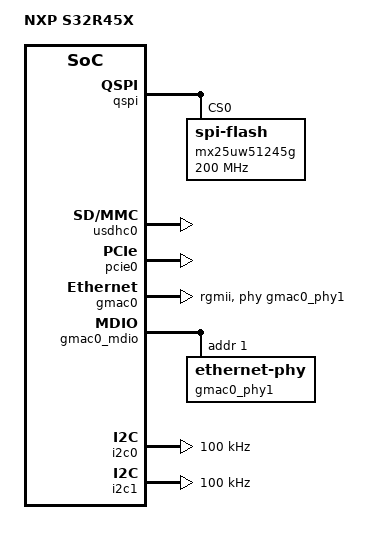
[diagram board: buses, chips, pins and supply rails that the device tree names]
// SPDX-License-Identifier: GPL-2.0+
/*
 * Copyright 2017-2020 NXP
 *
 * This program is free software; you can redistribute it and/or modify
 * it under the terms of the GNU General Public License as published by
 * the Free Software Foundation; either version 2 of the License, or
 * (at your option) any later version.
 */

/dts-v1/;
#include "fsl-s32-gen1.dtsi"
/ {
	model = "NXP S32R45X";
	compatible = "fsl,s32r45x", "arm,vexpress,v2p-aarch64", "arm,vexpress";

	signature {
		key-boot_key {
			required = "conf";
			algo = "sha1,rsa2048";
			key-name-hint = "boot_key";
		};
	};

	memory_DDR0@800000000 {
		device_type = "memory";
		reg = <0x8 0x0 0 0x40000000>, /* 0 - 1 GB */
		      <0x8 0x40000000 0 0x40000000>, /* 1 - 2 GB */
		      <0x8 0x80000000 0 0x80000000>; /* 2 - 4 GB */
		      /* extended DDR from 4 to 32 GB should go elsewhere */
	};

	memory_DDR1@8800000000 {
		device_type = "memory";
		reg = <0x88 0x0 0 0x40000000>, /* 0 - 1 GB */
		      <0x88 0x40000000 0 0xC0000000>; /* 1 - 4 GB */
		      /* extended DDR from 4 to 32 GB should go elsewhere */
	};

};

&qspi {
	status = "okay";

	mx25uw51245g@0 {
		#address-cells = <1>;
		#size-cells = <1>;
		compatible = "spi-flash";
		spi-max-frequency = <200000000>;
		spi-tx-bus-width = <8>;
		spi-rx-bus-width = <8>;
		reg = <0>;
	};
};

&usdhc0 {
	status = "okay";
};

&pcie0 {
	status = "okay";

	link-speed = <3>; /* Gen3 */
};

&gmac0 {
	status = "okay";
	phy-mode = "rgmii";
	phy-handle = <&gmac0_phy1>;
};

&gmac0_mdio {
	#address-cells = <1>;
	#size-cells = <0>;
	/* KSZ9031RNXCA on S32R-VNP-PROC */
	gmac0_phy1: ethernet-phy@1 {
		reg = <1>;
	};
};

/* J36 - PMIC */
&i2c0 {
	clock-frequency=<100000>;
	status = "okay";
};

/* J37 */
&i2c1 {
	clock-frequency=<100000>;
	status = "okay";
};

